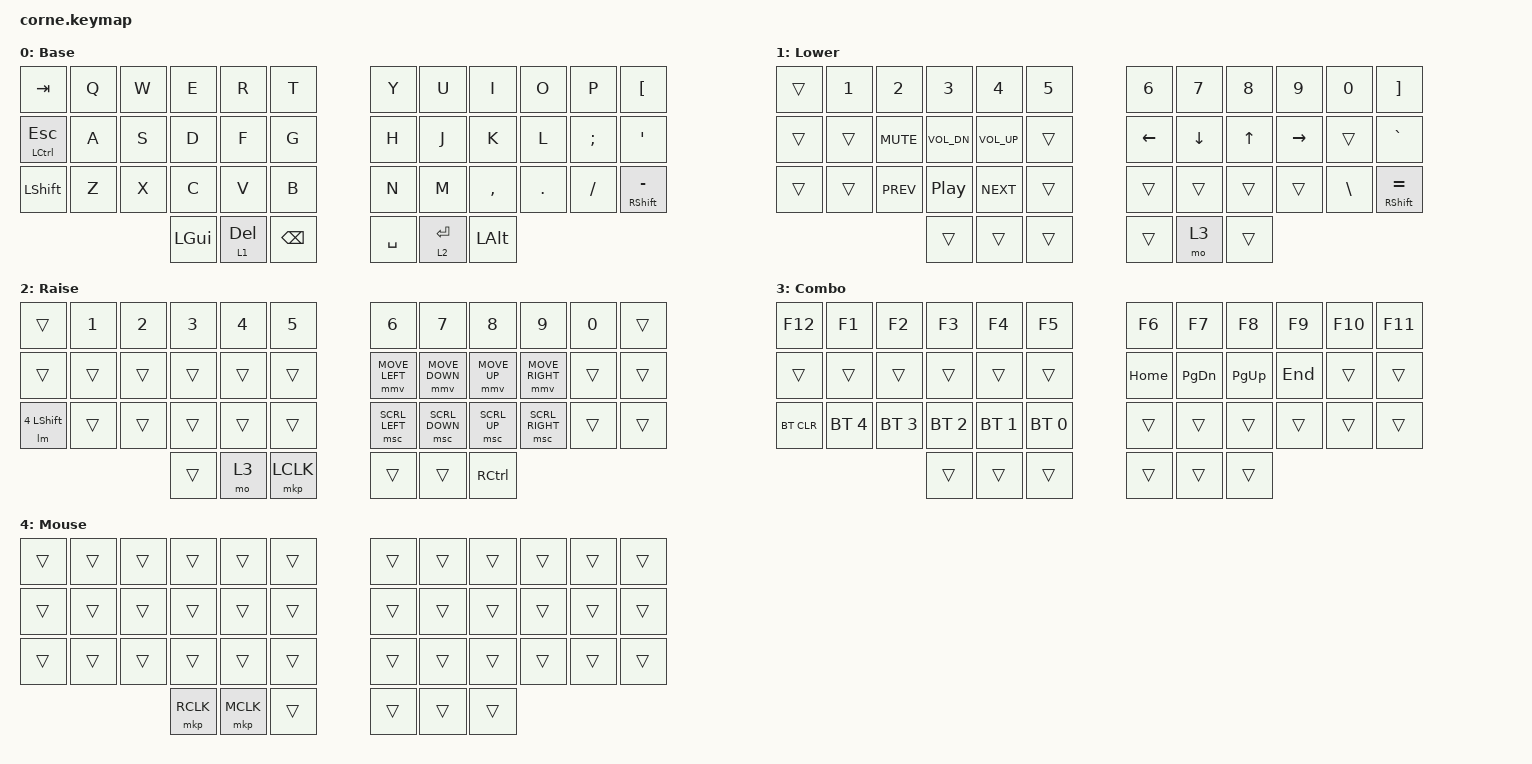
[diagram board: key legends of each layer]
/*
 * Copyright (c) 2020 The ZMK Contributors
 *
 * SPDX-License-Identifier: MIT
 */

#define ZMK_POINTING_DEFAULT_MOVE_VAL 1500
#define ZMK_POINTING_DEFAULT_SCRL_VAL 20

#include <behaviors.dtsi>
#include <dt-bindings/zmk/bt.h>
#include <dt-bindings/zmk/keys.h>
#include <dt-bindings/zmk/pointing.h>

&lt {
    tapping-term-ms = <150>;
    quick-tap-ms = <150>;
    flavor = "hold-preferred";
};

&mt {
    tapping-term-ms = <120>;
    quick-tap-ms = <150>;
};

// Pro-Micro controller + nice!view display: Assign the cs-gpios pin to 16
nice_view_spi: &spi0 { cs-gpios = <&pro_micro 16 GPIO_ACTIVE_HIGH>; };

/ {
    macros {
        /**
         * Temporarily switches to a layer (`&mo`) while a modifier is held.
         * Analogous to QMK's `LM()`, using a parameterized macro.
         *
         * Params:
         *  1. Layer to switch to
         *  2. Modifier to press while layer is active
         *
         * Example:
         *  `&lm NUM_LAYER LSHIFT`
         */
        lm: lm {
            compatible = "zmk,behavior-macro-two-param";
            wait-ms = <0>;
            tap-ms = <0>;
            #binding-cells = <2>;
            bindings
                = <&macro_param_1to1>
                , <&macro_press &mo MACRO_PLACEHOLDER>
                , <&macro_param_2to1>
                , <&macro_press &kp MACRO_PLACEHOLDER>
                , <&macro_pause_for_release>
                , <&macro_param_2to1>
                , <&macro_release &kp MACRO_PLACEHOLDER>
                , <&macro_param_1to1>
                , <&macro_release &mo MACRO_PLACEHOLDER>
                ;
        };
    };

    keymap {
        compatible = "zmk,keymap";

        default_layer {
            // ----------------------------------------------------------------------------------------------
            // |   TAB    |  Q  |  W  |  E  |    R    |  T   |   |  Y  |    U    |  I  |  O  |  P  |   [    |
            // | CTRL ESC |  A  |  S  |  D  |    F    |  G   |   |  H  |    J    |  K  |  L  |  ;  |   '    |
            // |   SHFT   |  Z  |  X  |  C  |    V    |  B   |   |  N  |    M    |  ,  |  .  |  /  | SHFT - |
            //                        | GUI | LWR DEL | BSPC |   | SPC | RSE ENT | ALT |

            display-name = "Base";
            bindings = <
   &kp TAB          &kp Q &kp W &kp E    &kp R        &kp T           &kp Y     &kp U        &kp I     &kp O    &kp P     &kp LEFT_BRACKET
   &mt LCTRL ESCAPE &kp A &kp S &kp D    &kp F        &kp G           &kp H     &kp J        &kp K     &kp L    &kp SEMI  &kp SQT
   &kp LSHFT        &kp Z &kp X &kp C    &kp V        &kp B           &kp N     &kp M        &kp COMMA &kp DOT  &kp FSLH  &mt RSHFT MINUS
                                &kp LGUI &lt 1 DELETE &kp BACKSPACE   &kp SPACE &lt 2 RETURN &kp LALT
            >;
        };

        lower_layer {
            // ---------------------------------------------------------------------------------
            // |      |  1  |  2  |  3  |  4  |  5  |   |  6  |  7  |  8  |  9  |  0  |   ]    |
            // |      |     | MUT | VDN | VUP |     |   | LFT | DWN | UP  | RGT |     |   `    |
            // |      |     | PRV | PLY | NXT |     |   |     |     |     |     |  \  | SHFT = |
            //                    |     |     |     |   |     | CMB |     |

            display-name = "Lower";
            bindings = <
   &trans &kp NUMBER_1 &kp NUMBER_2 &kp NUMBER_3     &kp NUMBER_4 &kp NUMBER_5   &kp NUMBER_6  &kp NUMBER_7  &kp NUMBER_8  &kp NUMBER_9  &kp NUMBER_0   &kp RIGHT_BRACKET
   &trans &trans       &kp C_MUTE   &kp C_VOL_DN     &kp C_VOL_UP &trans         &kp LEFT      &kp DOWN      &kp UP        &kp RIGHT     &trans         &kp GRAVE
   &trans &trans       &kp C_PREV   &kp C_PLAY_PAUSE &kp C_NEXT   &trans         &trans        &trans        &trans        &trans        &kp BACKSLASH  &mt RSHFT EQUAL
                                    &trans           &trans       &trans         &trans        &mo 3         &trans
            >;
        };

        raise_layer {
            // -------------------------------------------------------------------------------------
            // |         |  1  |  2  |  3  |  4  |  5   |   |  6   |  7   |  8   |  9   |  0  |      |
            // |         |     |     |     |     |      |   | 🖱️⬅️ | 🖱️⬇️ | 🖱️⬆️ | 🖱️➡️ |     |      |
            // | SHFT MS |     |     |     |     |      |   | 📜⬅️ | 📜⬇️ | 📜⬆️ | 📜➡️ |     |      |
            //                       |     | CMB | LCLK |   |      |      | RCTL |

            display-name = "Raise";
            bindings = <
   &trans      &kp NUMBER_1 &kp NUMBER_2 &kp NUMBER_3 &kp NUMBER_4 &kp NUMBER_5   &kp NUMBER_6   &kp NUMBER_7   &kp NUMBER_8 &kp NUMBER_9    &kp NUMBER_0  &trans
   &trans      &trans       &trans       &trans       &trans       &trans         &mmv MOVE_LEFT &mmv MOVE_DOWN &mmv MOVE_UP &mmv MOVE_RIGHT &trans        &trans
   &lm 4 LSHFT &trans       &trans       &trans       &trans       &trans         &msc SCRL_LEFT &msc SCRL_DOWN &msc SCRL_UP &msc SCRL_RIGHT &trans        &trans
                                         &trans       &mo 3        &mkp LCLK      &trans         &trans         &kp RCTRL
            >;
        };

        combo_layer {
            // -------------------------------------------------------------------------------------
            // |  F12  | F1  | F2  | F3  | F4  | F5   |   | F6   | F7   |  F8  | F9   | F10 | F11  |
            // |       |     |     |     |     |      |   | HOME | PGDN | PGUP | END  |     |      |
            // | BTCLR | BT5 | BT4 | BT3 | BT2 | BT1  |   |      |      |      |      |     |      |
            //                    |     |     |      |   |      |      |      |

            display-name = "Combo";
            bindings = <
   &kp F12    &kp F1       &kp F2       &kp F3       &kp F4       &kp F5         &kp F6   &kp F7    &kp F8    &kp F9  &kp F10 &kp F11
   &trans     &trans       &trans       &trans       &trans       &trans         &kp HOME &kp PG_DN &kp PG_UP &kp END &trans  &trans
   &bt BT_CLR &bt BT_SEL 4 &bt BT_SEL 3 &bt BT_SEL 2 &bt BT_SEL 1 &bt BT_SEL 0   &trans   &trans    &trans    &trans  &trans  &trans
                                        &trans       &trans       &trans         &trans   &trans    &trans
            >;
        };

        mouse_layer {
            // -------------------------------------------------------------------------------------
            // |      |     |     |     |     |      |   |      |      |      |      |     |      |
            // |      |     |     |     |     |      |   |      |      |      |      |     |      |
            // |      |     |     |     |     |      |   |      |      |      |      |     |      |
            //                    |     |     |      |   |      |      |      |

            display-name = "Mouse";
            bindings = <
   &trans &trans &trans &trans    &trans    &trans   &trans &trans &trans &trans &trans &trans
   &trans &trans &trans &trans    &trans    &trans   &trans &trans &trans &trans &trans &trans
   &trans &trans &trans &trans    &trans    &trans   &trans &trans &trans &trans &trans &trans
                        &mkp RCLK &mkp MCLK &trans   &trans &trans &trans
            >;
        };
    };
};
